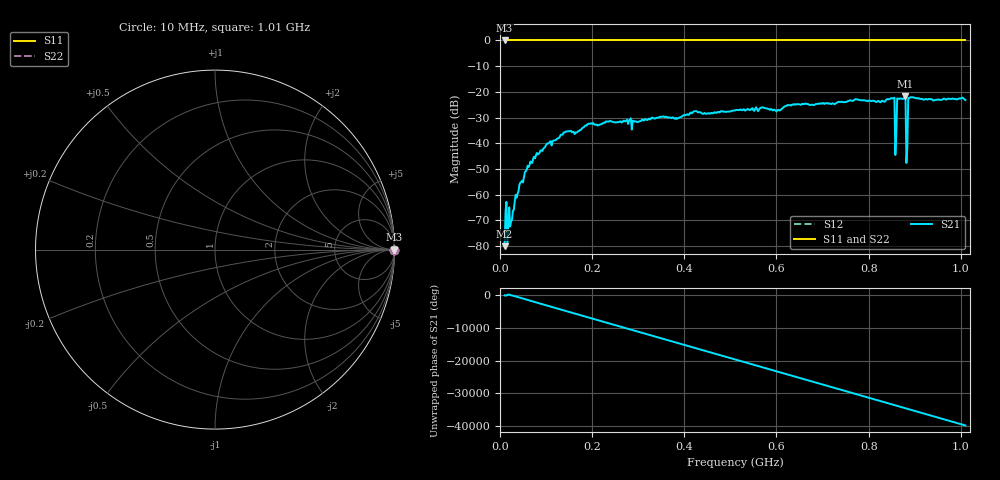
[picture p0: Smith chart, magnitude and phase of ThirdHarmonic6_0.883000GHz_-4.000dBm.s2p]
! 8/16/2025 5:03:51 AM
! C:\ANRITSUVNA\TEMP\TEMP.S2P
! CHANNEL.1
! TR.MEASUREMENT
! RAW.DATA
! RF.CORRECTION.OFF
! AVERAGING.OFF
! IF.BANDWIDTH: 5KHZ
! SWEEPTYPE:  FREQ.SWEEP(Linear)
! Reference Plane Port Info
! PORT:  PORT1  PORT2
! DISTANCE:  0  m  0  m
! TIME:  0  s  0  s
! PHASE.OFFSET:  0  deg.  0  deg.
! LOSS:  0  dB  0  dB
! REF.LOSS:  0  dB  0  dB
! REF.FREQ:  0  Hz  0  Hz
! Power Info
! POWER:  -20  dBm  -20  dBm
! EFF.POWER:  -20  dBm  -20  dBm
! SOURCE.ATTEN:  0  dB  0  dB
! TEST.ATTEN:  0  dB  0  dB
# GHZ S RI R 50.0
! FREQ.GHZ  S11RE  S11IM  S21RE  S21IM  S12RE  S12IM  S22RE  S22IM
!; PortSelection: Port_12
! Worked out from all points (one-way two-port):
!   501 points, 10 MHz to 1.01 GHz, reference 50 ohm
!   highest |S21| = -21.78 dB at 880 MHz (marker M1); lowest = -80.1 dB at 10 MHz (marker M2)
!   lowest |S11| = 0.0 dB at 10 MHz (marker M3)
!   |S11| at or under -10 dB: nowhere
!   |S22| runs from 0.0 to 0.0 dB; largest |S21 - S12| = 1.1
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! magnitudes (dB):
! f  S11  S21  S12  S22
! 10 MHz  0.0  -80.1  0.0  0.0
! 16 MHz  0.0  -79.3  0.0  0.0
! 20 MHz  0.0  -65.0  0.0  0.0
! 26 MHz  0.0  -69.8  0.0  0.0
! 44 MHz  0.0  -55.4  0.0  0.0
! 76 MHz  0.0  -45.9  0.0  0.0
! 142 MHz  0.0  -35.6  0.0  0.0
! 178 MHz  0.0  -34.2  0.0  0.0
! 194 MHz  0.0  -32.4  0.0  0.0
! 344 MHz  0.0  -30.0  0.0  0.0
! 510 MHz  0.0  -27.2  0.0  0.0
! 678 MHz  0.0  -25.0  0.0  0.0
! 844 MHz  0.0  -22.9  0.0  0.0
! 852 MHz  0.0  -22.6  0.0  0.0
! 856 MHz  0.0  -22.3  0.0  0.0
! 862 MHz  0.0  -22.5  0.0  0.0
! 866 MHz  0.0  -22.8  0.0  0.0
! 876 MHz  0.0  -22.5  0.0  0.0
! 880 MHz  0.0  -21.8  0.0  0.0
! 886 MHz  0.0  -22.4  0.0  0.0
! 890 MHz  0.0  -22.1  0.0  0.0
! 1.01 GHz  0.0  -23.2  0.0  0.0
